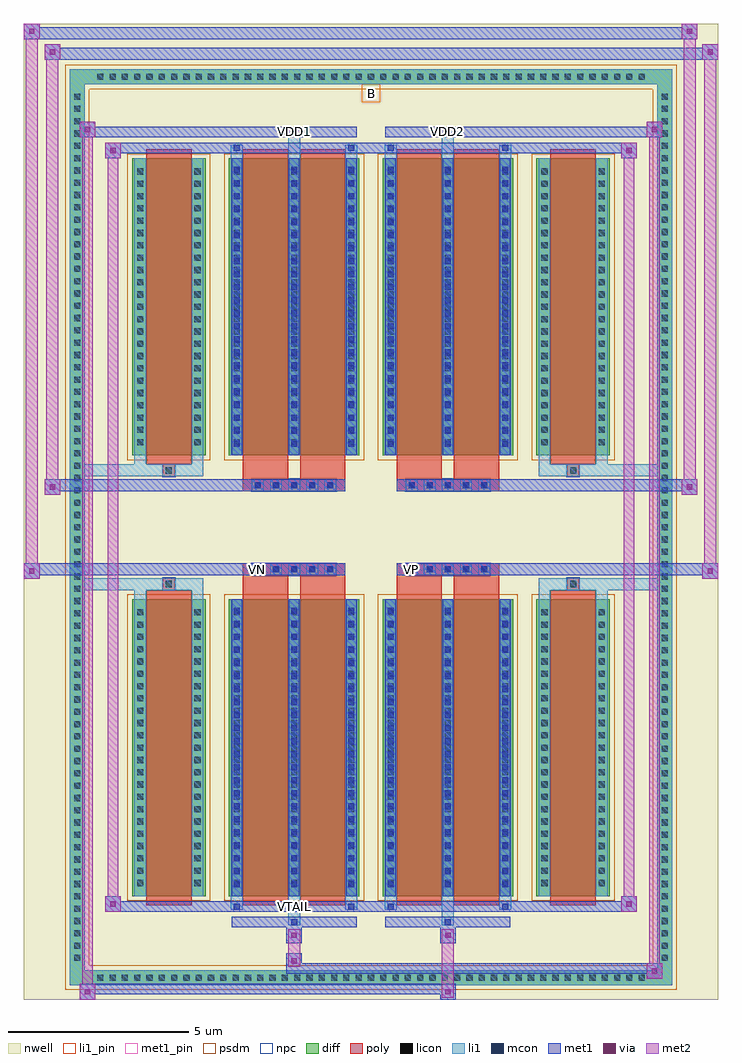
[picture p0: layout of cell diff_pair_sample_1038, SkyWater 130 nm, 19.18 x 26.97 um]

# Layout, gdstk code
import gdstk
lib = gdstk.Library(unit=1e-6, precision=5e-09)
def R(c, l, rs):  # rectangles x0, y0, x1, y1
    for r in rs: c.add(gdstk.rectangle(r[:2], r[2:], *l))
def A(c, l, x, y, w, h, nx, ny, dx, dy):  # array of equal rectangles
    R(c, l, [(x+i*dx, y+j*dy, x+i*dx+w, y+j*dy+h) for i in range(nx) for j in range(ny)])
def P(c, l, *ps):  # polygons
    for p in ps: c.add(gdstk.Polygon(p, *l))
nwell = (64, 20)
diff = (65, 20)
poly = (66, 20)
licon = (66, 44)
li1_pin = (67, 16)
li1 = (67, 20)
mcon = (67, 44)
met1_pin = (68, 16)
met1 = (68, 20)
via = (68, 44)
met2 = (69, 20)
psdm = (94, 20)
npc = (95, 20)

diff_pair_sample_1038 = lib.new_cell('diff_pair_sample_1038')
R(diff_pair_sample_1038, nwell, [(-9.59,-13.05,9.59,13.92), (-6.91,-11.24,-0.01,-0.8), (0.01,-11.24,6.91,-0.8), (-6.91,0.8,-0.01,11.24), (0.01,0.8,6.91,11.24)])
A(diff_pair_sample_1038, diff, -7.685, -12.65, 0.41, 0.41, 45, 2, 0.34, 24.89)
A(diff_pair_sample_1038, diff, -8.32, -12.105, 0.41, 0.41, 1, 71, 0, 0.34)
A(diff_pair_sample_1038, diff, 7.91, -12.105, 0.41, 0.41, 1, 71, 0, 0.34)
R(diff_pair_sample_1038, diff, [(-7.685,-12.65,7.685,-12.24), (-8.32,-12.105,-7.91,12.105), (7.91,-12.105,8.32,12.105), (-6.6,-10.195,-4.57,-1.985), (-3.93,-10.195,-0.32,-1.985), (0.32,-10.195,3.93,-1.985), (4.57,-10.195,6.6,-1.985), (-6.6,1.985,-4.57,10.195), (-3.93,1.985,-0.32,10.195), (0.32,1.985,3.93,10.195), (4.57,1.985,6.6,10.195), (-7.685,12.24,7.685,12.65)])
P(diff_pair_sample_1038, diff, [(8.32,12.65),(-8.32,12.65),(-8.32,-12.24),(-7.91,-12.24),(-7.91,12.24),(7.91,12.24),(7.91,-12.24),(-7.91,-12.24),(-8.32,-12.24),(-8.32,-12.65),(8.32,-12.65)])
A(diff_pair_sample_1038, poly, -3.29, -1.33, 0.33, 0.33, 5, 2, 0.5, 2.33)
A(diff_pair_sample_1038, poly, 0.96, -1.33, 0.33, 0.33, 5, 2, 0.5, 2.33)
R(diff_pair_sample_1038, poly, [(-6.21,-10.445,-4.96,-1.735), (-3.54,-10.445,-2.29,-1.735), (-1.96,-10.445,-0.71,-1.735), (0.71,-10.445,1.96,-1.735), (2.29,-10.445,3.54,-1.735), (4.96,-10.445,6.21,-1.735), (-5.75,-1.735,-5.42,-1.405), (-5.75,-1.735,-5.42,-1.405), (-3.54,-1.735,-2.29,-1.33), (-1.96,-1.735,-0.71,-1.33), (0.71,-1.735,1.96,-1.33), (2.29,-1.735,3.54,-1.33), (5.42,-1.735,5.75,-1.405), (5.42,-1.735,5.75,-1.405), (-3.54,-1.33,-0.71,-1), (0.71,-1.33,3.54,-1), (-3.54,1,-0.71,1.33), (0.71,1,3.54,1.33), (-3.54,1.33,-2.29,1.735), (-1.96,1.33,-0.71,1.735), (0.71,1.33,1.96,1.735), (2.29,1.33,3.54,1.735), (-5.75,1.405,-5.42,1.735), (-5.75,1.405,-5.42,1.735), (5.42,1.405,5.75,1.735), (5.42,1.405,5.75,1.735), (-6.21,1.735,-4.96,10.445), (-3.54,1.735,-2.29,10.445), (-1.96,1.735,-0.71,10.445), (0.71,1.735,1.96,10.445), (2.29,1.735,3.54,10.445), (4.96,1.735,6.21,10.445)])
A(diff_pair_sample_1038, licon, -7.565, -12.53, 0.17, 0.17, 45, 2, 0.34, 24.89)
A(diff_pair_sample_1038, licon, -8.2, -11.985, 0.17, 0.17, 1, 71, 0, 0.34)
A(diff_pair_sample_1038, licon, 8.03, -11.985, 0.17, 0.17, 1, 71, 0, 0.34)
A(diff_pair_sample_1038, licon, -6.46, -9.915, 0.17, 0.17, 1, 23, 0, 0.34)
A(diff_pair_sample_1038, licon, -4.88, -9.915, 0.17, 0.17, 1, 23, 0, 0.34)
A(diff_pair_sample_1038, licon, -3.79, -9.915, 0.17, 0.17, 3, 23, 1.58, 0.34)
A(diff_pair_sample_1038, licon, 0.46, -9.915, 0.17, 0.17, 3, 23, 1.58, 0.34)
A(diff_pair_sample_1038, licon, 4.71, -9.915, 0.17, 0.17, 1, 23, 0, 0.34)
A(diff_pair_sample_1038, licon, 6.29, -9.915, 0.17, 0.17, 1, 23, 0, 0.34)
A(diff_pair_sample_1038, licon, -3.21, -1.25, 0.17, 0.17, 5, 2, 0.5, 2.33)
A(diff_pair_sample_1038, licon, 1.04, -1.25, 0.17, 0.17, 5, 2, 0.5, 2.33)
A(diff_pair_sample_1038, licon, -6.46, 2.265, 0.17, 0.17, 1, 23, 0, 0.34)
A(diff_pair_sample_1038, licon, -4.88, 2.265, 0.17, 0.17, 1, 23, 0, 0.34)
A(diff_pair_sample_1038, licon, -3.79, 2.265, 0.17, 0.17, 3, 23, 1.58, 0.34)
A(diff_pair_sample_1038, licon, 0.46, 2.265, 0.17, 0.17, 3, 23, 1.58, 0.34)
A(diff_pair_sample_1038, licon, 4.71, 2.265, 0.17, 0.17, 1, 23, 0, 0.34)
A(diff_pair_sample_1038, licon, 6.29, 2.265, 0.17, 0.17, 1, 23, 0, 0.34)
R(diff_pair_sample_1038, licon, [(-5.67,-1.655,-5.5,-1.485), (5.5,-1.655,5.67,-1.485), (-5.67,1.485,-5.5,1.655), (5.5,1.485,5.67,1.655)])
R(diff_pair_sample_1038, li1_pin, [(-0.25,11.74,0.25,12.24)])
A(diff_pair_sample_1038, li1, -7.645, -12.61, 0.33, 0.33, 45, 2, 0.34, 24.89)
A(diff_pair_sample_1038, li1, -8.28, -12.065, 0.33, 0.33, 1, 71, 0, 0.34)
A(diff_pair_sample_1038, li1, 7.95, -12.065, 0.33, 0.33, 1, 71, 0, 0.34)
A(diff_pair_sample_1038, li1, -3.87, -10.195, 0.33, 8.21, 3, 2, 1.58, 12.18)
A(diff_pair_sample_1038, li1, 0.38, -10.195, 0.33, 8.21, 3, 2, 1.58, 12.18)
A(diff_pair_sample_1038, li1, -6.54, -9.995, 0.33, 0.33, 1, 23, 0, 0.34)
A(diff_pair_sample_1038, li1, -4.96, -9.995, 0.33, 0.33, 1, 23, 0, 0.34)
A(diff_pair_sample_1038, li1, -3.87, -9.995, 0.33, 0.33, 3, 23, 1.58, 0.34)
A(diff_pair_sample_1038, li1, 0.38, -9.995, 0.33, 0.33, 3, 23, 1.58, 0.34)
A(diff_pair_sample_1038, li1, 4.63, -9.995, 0.33, 0.33, 1, 23, 0, 0.34)
A(diff_pair_sample_1038, li1, 6.21, -9.995, 0.33, 0.33, 1, 23, 0, 0.34)
A(diff_pair_sample_1038, li1, -3.79, -9.955, 0.17, 0.17, 3, 22, 1.58, 0.36)
A(diff_pair_sample_1038, li1, -3.79, -9.955, 0.17, 7.73, 3, 2, 1.58, 12.18)
A(diff_pair_sample_1038, li1, 0.46, -9.955, 0.17, 0.17, 3, 22, 1.58, 0.36)
A(diff_pair_sample_1038, li1, 0.46, -9.955, 0.17, 7.73, 3, 2, 1.58, 12.18)
A(diff_pair_sample_1038, li1, -3.29, -1.33, 0.33, 0.33, 5, 2, 0.5, 2.33)
A(diff_pair_sample_1038, li1, 0.96, -1.33, 0.33, 0.33, 5, 2, 0.5, 2.33)
A(diff_pair_sample_1038, li1, -6.54, 2.185, 0.33, 0.33, 1, 23, 0, 0.34)
A(diff_pair_sample_1038, li1, -4.96, 2.185, 0.33, 0.33, 1, 23, 0, 0.34)
A(diff_pair_sample_1038, li1, -3.87, 2.185, 0.33, 0.33, 3, 23, 1.58, 0.34)
A(diff_pair_sample_1038, li1, 0.38, 2.185, 0.33, 0.33, 3, 23, 1.58, 0.34)
A(diff_pair_sample_1038, li1, 4.63, 2.185, 0.33, 0.33, 1, 23, 0, 0.34)
A(diff_pair_sample_1038, li1, 6.21, 2.185, 0.33, 0.33, 1, 23, 0, 0.34)
A(diff_pair_sample_1038, li1, -3.79, 2.225, 0.17, 0.17, 3, 22, 1.58, 0.36)
A(diff_pair_sample_1038, li1, 0.46, 2.225, 0.17, 0.17, 3, 22, 1.58, 0.36)
R(diff_pair_sample_1038, li1, [(-8.32,-12.65,-7.91,-12.24), (-8.32,-12.65,-7.91,-12.24), (-7.91,-12.65,7.91,-12.24), (7.91,-12.65,8.32,-12.24), (7.91,-12.65,8.32,-12.24), (-8.32,-12.24,-7.91,12.24), (7.91,-12.24,8.32,12.24), (-2.29,-11,-1.96,-10.195), (-2.21,-11,-2.04,-10.83), (1.96,-11,2.29,-10.195), (2.04,-11,2.21,-10.83), (-3.87,-10.57,-3.54,-10.195), (-3.79,-10.57,-3.62,-10.4), (-0.71,-10.57,-0.38,-10.195), (-0.63,-10.57,-0.46,-10.4), (0.38,-10.57,0.71,-10.195), (0.46,-10.57,0.63,-10.4), (3.54,-10.57,3.87,-10.195), (3.62,-10.57,3.79,-10.4), (-6.54,-10.195,-6.21,-1.985), (-4.96,-10.195,-4.63,-1.985), (4.63,-10.195,4.96,-1.985), (6.21,-10.195,6.54,-1.985), (-6.54,-1.985,-6.21,-1.405), (-4.96,-1.985,-4.63,-1.405), (4.63,-1.985,4.96,-1.405), (6.21,-1.985,6.54,-1.405), (-8.32,-1.735,-5.75,-1.405), (-6.54,-1.735,-5.75,-1.405), (-5.75,-1.735,-5.42,-1.405), (-5.42,-1.735,-4.63,-1.405), (4.63,-1.735,5.42,-1.405), (5.42,-1.735,5.75,-1.405), (5.42,-1.735,8.32,-1.405), (5.75,-1.735,6.54,-1.405), (-8.32,1.405,-5.75,1.735), (-6.54,1.405,-5.75,1.735), (-6.54,1.405,-6.21,1.985), (-5.75,1.405,-5.42,1.735), (-5.42,1.405,-4.63,1.735), (-4.96,1.405,-4.63,1.985), (4.63,1.405,5.42,1.735), (4.63,1.405,4.96,1.985), (5.42,1.405,5.75,1.735), (5.42,1.405,8.32,1.735), (5.75,1.405,6.54,1.735), (6.21,1.405,6.54,1.985), (-6.54,1.985,-6.21,10.195), (-4.96,1.985,-4.63,10.195), (4.63,1.985,4.96,10.195), (6.21,1.985,6.54,10.195), (-3.87,10.195,-3.54,10.57), (-2.29,10.195,-1.96,11), (-0.71,10.195,-0.38,10.57), (0.38,10.195,0.71,10.57), (1.96,10.195,2.29,11), (3.54,10.195,3.87,10.57), (-3.79,10.4,-3.62,10.57), (-0.63,10.4,-0.46,10.57), (0.46,10.4,0.63,10.57), (3.62,10.4,3.79,10.57), (-2.21,10.83,-2.04,11), (2.04,10.83,2.21,11), (-8.32,12.24,-7.91,12.65), (-8.32,12.24,-7.91,12.65), (-7.91,12.24,7.91,12.65), (7.91,12.24,8.32,12.65), (7.91,12.24,8.32,12.65)])
A(diff_pair_sample_1038, mcon, -3.79, -9.955, 0.17, 0.17, 3, 22, 1.58, 0.36)
A(diff_pair_sample_1038, mcon, 0.46, -9.955, 0.17, 0.17, 3, 22, 1.58, 0.36)
A(diff_pair_sample_1038, mcon, -3.21, -1.25, 0.17, 0.17, 5, 2, 0.5, 2.33)
A(diff_pair_sample_1038, mcon, 1.04, -1.25, 0.17, 0.17, 5, 2, 0.5, 2.33)
A(diff_pair_sample_1038, mcon, -3.79, 2.225, 0.17, 0.17, 3, 22, 1.58, 0.36)
A(diff_pair_sample_1038, mcon, 0.46, 2.225, 0.17, 0.17, 3, 22, 1.58, 0.36)
R(diff_pair_sample_1038, mcon, [(-2.21,-11,-2.04,-10.83), (2.04,-11,2.21,-10.83), (-3.79,-10.57,-3.62,-10.4), (-0.63,-10.57,-0.46,-10.4), (0.46,-10.57,0.63,-10.4), (3.62,-10.57,3.79,-10.4), (-3.79,10.4,-3.62,10.57), (-0.63,10.4,-0.46,10.57), (0.46,10.4,0.63,10.57), (3.62,10.4,3.79,10.57), (-2.21,10.83,-2.04,11), (2.04,10.83,2.21,11)])
R(diff_pair_sample_1038, met1_pin, [(-2.26,-10.61,-1.99,-10.34), (-3.26,-1.29,-2.99,-1.02), (0.99,-1.29,1.26,-1.02), (-2.26,10.79,-1.99,11.06), (1.99,10.79,2.26,11.06)])
A(diff_pair_sample_1038, met1, -3.85, -10.195, 0.29, 8.21, 3, 2, 1.58, 12.18)
A(diff_pair_sample_1038, met1, 0.4, -10.195, 0.29, 8.21, 3, 2, 1.58, 12.18)
A(diff_pair_sample_1038, met1, -3.85, -10.015, 0.29, 0.29, 3, 22, 1.58, 0.36)
A(diff_pair_sample_1038, met1, 0.4, -10.015, 0.29, 0.29, 3, 22, 1.58, 0.36)
A(diff_pair_sample_1038, met1, -3.27, -1.31, 0.29, 0.29, 5, 2, 0.5, 2.33)
A(diff_pair_sample_1038, met1, 0.98, -1.31, 0.29, 0.29, 5, 2, 0.5, 2.33)
A(diff_pair_sample_1038, met1, -3.85, 2.165, 0.29, 0.29, 3, 22, 1.58, 0.36)
A(diff_pair_sample_1038, met1, 0.4, 2.165, 0.29, 0.29, 3, 22, 1.58, 0.36)
R(diff_pair_sample_1038, met1, [(-8.05,-13.05,-7.62,-12.62), (1.91,-13.05,2.34,-12.62), (-8.05,-12.91,2.34,-12.62), (7.62,-12.48,8.05,-12.05), (-2.34,-12.34,8.05,-12.05), (-2.34,-12.2,-1.91,-11.77), (-2.34,-11.49,-1.91,-11.06), (1.91,-11.49,2.34,-11.06), (-3.85,-11.06,-0.4,-10.77), (-2.27,-11.06,-1.98,-10.77), (0.4,-11.06,3.85,-10.77), (1.98,-11.06,2.27,-10.77), (-7.34,-10.63,-6.91,-10.2), (-7.34,-10.63,-3.85,-10.34), (-3.85,-10.63,-3.56,-10.34), (-3.85,-10.63,-0.4,-10.34), (-0.69,-10.63,-0.4,-10.34), (-0.4,-10.63,0.4,-10.34), (0.4,-10.63,0.69,-10.34), (0.4,-10.63,3.85,-10.34), (3.56,-10.63,3.85,-10.34), (3.85,-10.63,7.34,-10.34), (6.91,-10.63,7.34,-10.2), (-9.59,-1.43,-9.16,-1), (9.16,-1.43,9.59,-1), (-9.59,-1.33,-0.71,-1), (-3.54,-1.33,-0.71,-1), (0.71,-1.33,3.54,-1), (0.71,-1.33,9.59,-1), (-9.02,0.9,-8.59,1.33), (8.59,0.9,9.02,1.33), (-9.02,1,-3.54,1.33), (-3.54,1,-0.71,1.33), (0.71,1,3.54,1.33), (3.54,1,9.02,1.33), (-7.34,10.2,-6.91,10.63), (6.91,10.2,7.34,10.63), (-7.34,10.34,-3.85,10.63), (-3.85,10.34,-3.56,10.63), (-3.85,10.34,-0.4,10.63), (-0.69,10.34,-0.4,10.63), (-0.4,10.34,0.4,10.63), (0.4,10.34,0.69,10.63), (0.4,10.34,3.85,10.63), (3.56,10.34,3.85,10.63), (3.85,10.34,7.34,10.63), (-8.05,10.77,-7.62,11.2), (-8.05,10.77,-3.85,11.06), (-3.85,10.77,-0.4,11.06), (-2.27,10.77,-1.98,11.06), (0.4,10.77,3.85,11.06), (1.98,10.77,2.27,11.06), (3.85,10.77,8.05,11.06), (7.62,10.77,8.05,11.2), (-9.02,12.92,-8.59,13.35), (-9.02,12.92,-6.91,13.25), (-6.91,12.92,6.91,13.25), (6.91,12.92,9.59,13.25), (9.16,12.92,9.59,13.35), (-9.59,13.49,-9.16,13.92), (-9.59,13.49,-6.91,13.82), (-6.91,13.49,6.91,13.82), (6.91,13.49,9.02,13.82), (8.59,13.49,9.02,13.92)])
R(diff_pair_sample_1038, via, [(-7.91,-12.91,-7.76,-12.76), (2.05,-12.91,2.2,-12.76), (7.76,-12.34,7.91,-12.19), (-2.2,-12.06,-2.05,-11.91), (-2.2,-11.35,-2.05,-11.2), (2.05,-11.35,2.2,-11.2), (-7.2,-10.49,-7.05,-10.34), (7.05,-10.49,7.2,-10.34), (-9.45,-1.29,-9.3,-1.14), (9.3,-1.29,9.45,-1.14), (-8.88,1.04,-8.73,1.19), (8.73,1.04,8.88,1.19), (-7.2,10.34,-7.05,10.49), (7.05,10.34,7.2,10.49), (-7.91,10.91,-7.76,11.06), (7.76,10.91,7.91,11.06), (-8.88,13.06,-8.73,13.21), (9.3,13.06,9.45,13.21), (-9.45,13.63,-9.3,13.78), (8.73,13.63,8.88,13.78)])
R(diff_pair_sample_1038, met2, [(-8.05,-13.05,-7.62,-12.62), (-7.98,-13.05,-7.69,11.2), (-7.69,-13.05,-7.62,-12.62), (-8,-13,-7.67,-12.67), (1.96,-13,2.29,-12.67), (1.96,-12.67,2.29,-11.44), (7.62,-12.48,8.05,-12.05), (7.69,-12.48,7.98,11.2), (7.98,-12.48,8.05,-12.05), (7.67,-12.43,8,-12.1), (-2.29,-12.15,-1.96,-11.82), (-2.29,-11.82,-1.96,-11.44), (-2.29,-11.44,-1.96,-11.11), (1.96,-11.44,2.29,-11.11), (-7.34,-10.63,-6.91,-10.2), (-7.27,-10.63,-6.98,10.63), (-6.98,-10.63,-6.91,-10.2), (6.91,-10.63,7.34,-10.2), (6.98,-10.63,7.27,10.63), (7.27,-10.63,7.34,-10.2), (-7.29,-10.58,-6.96,-10.25), (6.96,-10.58,7.29,-10.25), (-9.59,-1.43,-9.16,-1), (-9.54,-1.43,-9.21,13.92), (-9.21,-1.43,-9.16,-1), (9.16,-1.43,9.59,-1), (9.21,-1.43,9.54,13.35), (9.54,-1.43,9.59,-1), (-9.54,-1.38,-9.21,-1.05), (9.21,-1.38,9.54,-1.05), (-9.02,0.9,-8.59,1.33), (-8.97,0.9,-8.64,13.35), (-8.64,0.9,-8.59,1.33), (8.59,0.9,9.02,1.33), (8.64,0.9,8.97,13.92), (8.97,0.9,9.02,1.33), (-8.97,0.95,-8.64,1.28), (8.64,0.95,8.97,1.28), (-7.34,10.2,-6.91,10.63), (-6.98,10.2,-6.91,10.63), (6.91,10.2,7.34,10.63), (7.27,10.2,7.34,10.63), (-7.29,10.25,-6.96,10.58), (6.96,10.25,7.29,10.58), (-8.05,10.77,-7.62,11.2), (-7.69,10.77,-7.62,11.2), (7.62,10.77,8.05,11.2), (7.98,10.77,8.05,11.2), (-8,10.82,-7.67,11.15), (7.67,10.82,8,11.15), (-9.02,12.92,-8.59,13.35), (-8.64,12.92,-8.59,13.35), (9.16,12.92,9.59,13.35), (9.54,12.92,9.59,13.35), (-8.97,12.97,-8.64,13.3), (9.21,12.97,9.54,13.3), (-9.59,13.49,-9.16,13.92), (-9.21,13.49,-9.16,13.92), (8.59,13.49,9.02,13.92), (8.97,13.49,9.02,13.92), (-9.54,13.54,-9.21,13.87), (8.64,13.54,8.97,13.87)])
R(diff_pair_sample_1038, psdm, [(-6.73,-10.325,-4.44,-1.855), (-4.06,-10.325,-0.19,-1.855), (0.19,-10.325,4.06,-1.855), (4.44,-10.325,6.73,-1.855), (-6.73,1.855,-4.44,10.325), (-4.06,1.855,-0.19,10.325), (0.19,1.855,4.06,10.325), (4.44,1.855,6.73,10.325)])
P(diff_pair_sample_1038, psdm, [(8.45,12.78),(-8.45,12.78),(-8.45,-12.11),(-7.78,-12.11),(-7.78,12.11),(7.78,12.11),(7.78,-12.11),(-7.78,-12.11),(-8.45,-12.11),(-8.45,-12.78),(8.45,-12.78)])
A(diff_pair_sample_1038, npc, -3.31, -1.35, 0.37, 0.37, 5, 2, 0.5, 2.33)
A(diff_pair_sample_1038, npc, 0.94, -1.35, 0.37, 0.37, 5, 2, 0.5, 2.33)
R(diff_pair_sample_1038, npc, [(-5.77,-1.755,-5.4,-1.385), (5.4,-1.755,5.77,-1.385), (-3.31,-1.35,-2.44,-0.98), (-3.31,-1.35,-2.44,-0.98), (-2.81,-1.35,-1.94,-0.98), (-2.81,-1.35,-1.94,-0.98), (-2.31,-1.35,-1.44,-0.98), (-2.31,-1.35,-1.44,-0.98), (-1.81,-1.35,-0.94,-0.98), (-1.81,-1.35,-0.94,-0.98), (0.94,-1.35,1.81,-0.98), (0.94,-1.35,1.81,-0.98), (1.44,-1.35,2.31,-0.98), (1.44,-1.35,2.31,-0.98), (1.94,-1.35,2.81,-0.98), (1.94,-1.35,2.81,-0.98), (2.44,-1.35,3.31,-0.98), (2.44,-1.35,3.31,-0.98), (-3.31,0.98,-2.44,1.35), (-3.31,0.98,-2.44,1.35), (-2.81,0.98,-1.94,1.35), (-2.81,0.98,-1.94,1.35), (-2.31,0.98,-1.44,1.35), (-2.31,0.98,-1.44,1.35), (-1.81,0.98,-0.94,1.35), (-1.81,0.98,-0.94,1.35), (0.94,0.98,1.81,1.35), (0.94,0.98,1.81,1.35), (1.44,0.98,2.31,1.35), (1.44,0.98,2.31,1.35), (1.94,0.98,2.81,1.35), (1.94,0.98,2.81,1.35), (2.44,0.98,3.31,1.35), (2.44,0.98,3.31,1.35), (-5.77,1.385,-5.4,1.755), (5.4,1.385,5.77,1.755)])
diff_pair_sample_1038.add(gdstk.Label('VTAIL', (-2.125,-10.475), layer=68, texttype=5))
diff_pair_sample_1038.add(gdstk.Label('VN', (-3.125,-1.155), layer=68, texttype=5))
diff_pair_sample_1038.add(gdstk.Label('VP', (1.125,-1.155), layer=68, texttype=5))
diff_pair_sample_1038.add(gdstk.Label('B', (0,11.99), layer=67, texttype=5))
diff_pair_sample_1038.add(gdstk.Label('VDD2', (2.125,10.925), layer=68, texttype=5))
diff_pair_sample_1038.add(gdstk.Label('VDD1', (-2.125,10.925), layer=68, texttype=5))

lib.write_gds('diff_pair_sample_1038.gds')
